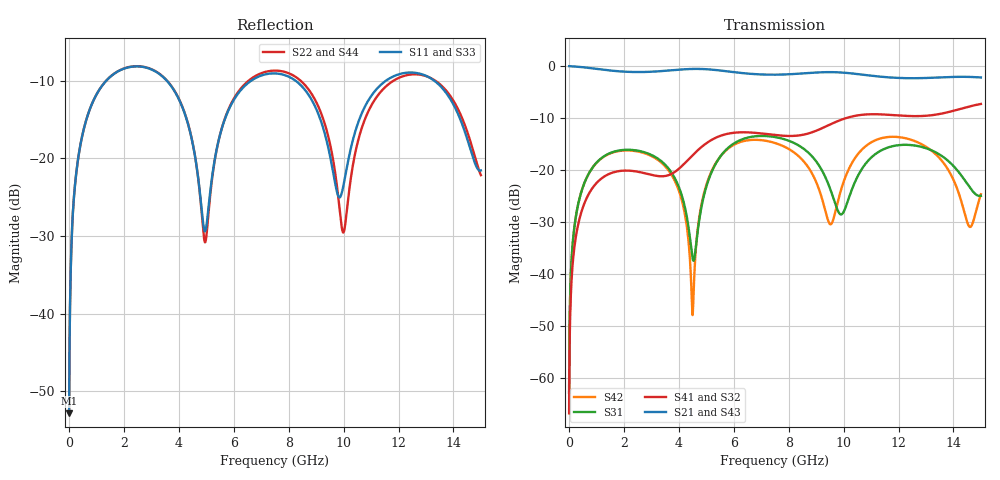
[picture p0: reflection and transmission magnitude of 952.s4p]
! Created with skrf 1.8.0 (http://scikit-rf.org).
# GHz S RI R 50.0
!freq ReS11 ImS11 ReS12 ImS12 ReS13 ImS13
! ReS14 ImS14
! ReS21 ImS21 ReS22 ImS22 ReS23 ImS23
! ReS24 ImS24
! ReS31 ImS31 ReS32 ImS32 ReS33 ImS33
! ReS34 ImS34
! ReS41 ImS41 ReS42 ImS42 ReS43 ImS43
! ReS44 ImS44
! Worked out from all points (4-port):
!   2499 points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, 5 MHz to 15 GHz, reference 50 ohm
!   strongest paths, dB at 5 MHz, 3.476 GHz, 7.19 GHz, 11.1 GHz, 15 GHz:
!     S21: 0.0, -0.9, -1.6, -1.9, -2.2
!     S43: 0.0, -0.9, -1.6, -1.9, -2.2
!     S41: -66.8, -21.2, -13.1, -9.3, -7.3
!     S32: -66.8, -21.2, -13.1, -9.3, -7.3
!     S31: -62.8, -18.8, -13.5, -17.2, -25.0
!     S42: -62.8, -19.1, -14.4, -14.4, -24.6
!   lowest |S11| = -52.9 dB at 5 MHz (marker M1), VSWR 1.00, Z = 50.2 + j0.138 ohm
!   |S11| at or under -10 dB: 3.571 GHz to 6.621 GHz (3.05 GHz wide, 59.9 % of centre); 8.262 GHz to 11.53 GHz (3.266 GHz wide, 33 % of centre); 13.32 GHz to end of sweep (the widest 3 of 4)
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0.005  0.00181 0.00137  0.9982 -0.00352  9.15e-05 0.000718  -8.88e-05 -0.000451
       0.9982 -0.00352  0.00181 0.00137  -8.88e-05 -0.000451  9.14e-05 0.000718
       9.15e-05 0.000718  -8.88e-05 -0.000451  0.00181 0.00137  0.9982 -0.00352
       -8.88e-05 -0.000451  9.14e-05 0.000718  0.9982 -0.00352  0.00181 0.00137
0.3126303  0.0284 0.0896  0.9611 -0.2182  0.0134 0.0421  -0.011 -0.026
           0.9611 -0.2182  0.0284 0.0896  -0.011 -0.026  0.013 0.0422
           0.0134 0.0421  -0.011 -0.026  0.0284 0.0896  0.9611 -0.2182
           -0.011 -0.026  0.013 0.0422  0.9611 -0.2182  0.0284 0.0896
1.519383  0.2937 0.1678  0.4948 -0.759  0.1376 0.0507  -0.0932 0.00284
          0.4948 -0.759  0.2951 0.1667  -0.0931 0.0028  0.134 0.0562
          0.1376 0.0507  -0.0931 0.0028  0.2936 0.1678  0.4948 -0.759
          -0.0932 0.00284  0.134 0.0562  0.4948 -0.759  0.2949 0.1667
4.495623  0.0648 -0.1094  -0.8728 -0.3456  -0.0127 -0.00699  -0.0464 0.1305
          -0.8728 -0.3456  0.06 -0.113  -0.0469 0.1303  -0.00379 -0.00156
          -0.0127 -0.00699  -0.0469 0.1303  0.0642 -0.1079  -0.8731 -0.3454
          -0.0464 0.1305  -0.00379 -0.00156  -0.8731 -0.3454  0.0594 -0.1116
7.546895  0.3532 -0.0113  -0.0667 0.8243  0.18 -0.1021  0.2081 -0.0607
          -0.0667 0.8243  0.368 -0.0239  0.2081 -0.0592  0.1752 -0.0437
          0.18 -0.1021  0.2081 -0.0592  0.3546 -0.0109  -0.0677 0.8239
          0.2081 -0.0607  0.1752 -0.0437  -0.0677 0.8239  0.3687 -0.0232
10.27928  0.0815 0.0873  0.8493 -0.0599  0.01 0.0619  -0.0402 -0.324
          0.8493 -0.0599  0.0493 0.0602  -0.0378 -0.3239  0.0889 0.0711
          0.01 0.0619  -0.0378 -0.3239  0.0837 0.0885  0.8494 -0.0575
          -0.0402 -0.324  0.0889 0.0711  0.8494 -0.0575  0.0468 0.0614
15  0.0836 0.00504  -0.7618 -0.1552  -0.0353 0.0442  -0.0772 0.4253
    -0.7618 -0.1552  0.0749 -0.0219  -0.0832 0.4246  0.0131 0.0571
    -0.0353 0.0442  -0.0832 0.4246  0.0801 -0.000325  -0.7598 -0.1652
    -0.0772 0.4253  0.0131 0.0571  -0.7598 -0.1652  0.081 -0.0259
